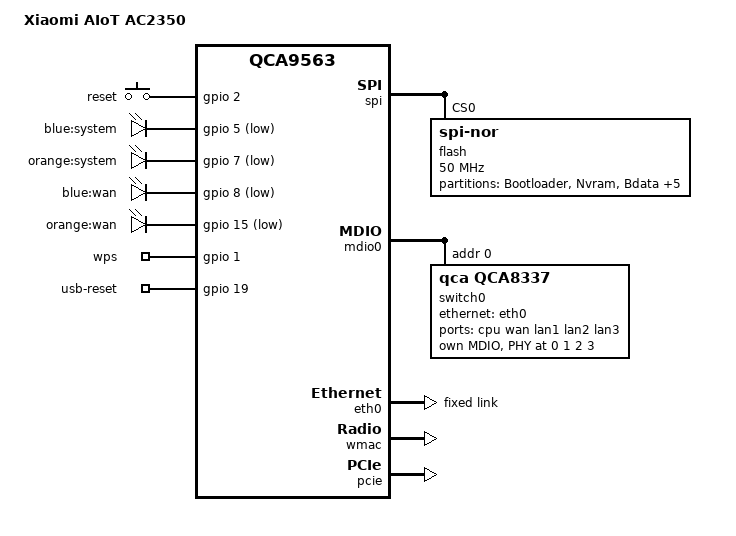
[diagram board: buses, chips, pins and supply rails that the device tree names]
// SPDX-License-Identifier: GPL-2.0-or-later OR MIT

#include "qca956x.dtsi"

#include <dt-bindings/gpio/gpio.h>
#include <dt-bindings/input/input.h>

/ {
	model = "Xiaomi AIoT AC2350";
	compatible = "xiaomi,aiot-ac2350", "qca,qca9563";

	aliases {
		label-mac-device = &eth0;

		led-boot = &led_system_orange;
		led-failsafe = &led_system_orange;
		led-running = &led_system_blue;
		led-upgrade = &led_system_orange;
	};

	keys {
		compatible = "gpio-keys";

		reset {
			label = "reset";
			linux,code = <KEY_RESTART>;
			gpios = <&gpio 2 GPIO_ACTIVE_HIGH>;
		};
	};

	leds {
		compatible = "gpio-leds";

		led_system_blue: system_blue {
			label = "blue:system";
			gpios = <&gpio 5 GPIO_ACTIVE_LOW>;
		};

		led_system_orange: system_orange {
			label = "orange:system";
			gpios = <&gpio 7 GPIO_ACTIVE_LOW>;
		};

		wan_blue {
			label = "blue:wan";
			gpios = <&gpio 8 GPIO_ACTIVE_LOW>;
		};

		wan_orange {
			label = "orange:wan";
			gpios = <&gpio 15 GPIO_ACTIVE_LOW>;
		};
	};

	gpio-export {
		compatible = "gpio-export";

		wps {
			gpio-export,name = "wps";
			gpio-export,output = <0>;
			gpios = <&gpio 1 GPIO_ACTIVE_HIGH>;
		};

		usb-reset {
			gpio-export,name = "usb-reset";
			gpio-export,output = <0>;
			gpios = <&gpio 19 GPIO_ACTIVE_HIGH>;
		};
	};
};

&spi {
	status = "okay";

	flash@0 {
		compatible = "jedec,spi-nor";
		reg = <0>;
		spi-max-frequency = <50000000>;

		partitions {
			compatible = "fixed-partitions";
			#address-cells = <1>;
			#size-cells = <1>;

			partition@0 {
				label = "Bootloader";
				reg = <0x0 0x30000>;
				read-only;
			};

			partition@30000 {
				label = "Nvram";
				reg = <0x30000 0x10000>;
			};

			partition@40000 {
				label = "Bdata";
				reg = <0x40000 0x10000>;
				read-only;
			};

			partition@50000 {
				label = "crash";
				reg = <0x50000 0x10000>;
				read-only;
			};

			art: partition@60000 {
				label = "art";
				reg = <0x60000 0x10000>;
				read-only;
			};

			partition@70000 {
				label = "cfg_bak";
				reg = <0x70000 0x20000>;
				read-only;
			};

			partition@90000 {
				label = "overlay";
				reg = <0x90000 0x170000>;
				read-only;
			};

			partition@200000 {
				compatible = "denx,uimage";
				label = "firmware";
				reg = <0x200000 0xe00000>;
			};
		};
	};
};

&mdio0 {
	status = "okay";

	phy-mask = <0x1>;

	switch0@10 {
		compatible = "qca,qca8337";
		#address-cells = <1>;
		#size-cells = <0>;

		reg = <0>;

		ports {
			#address-cells = <1>;
			#size-cells = <0>;

			port@0 {
				reg = <0>;
				label = "cpu";
				ethernet = <&eth0>;
				phy-mode = "sgmii";
				qca,sgmii-enable-pll;

				fixed-link {
					speed = <1000>;
					full-duplex;
				};
			};

			port@1 {
				reg = <1>;
				label = "wan";
				phy-mode = "internal";
				phy-handle = <&phy_port1>;
			};

			port@2 {
				reg = <2>;
				label = "lan1";
				phy-mode = "internal";
				phy-handle = <&phy_port2>;
			};

			port@3 {
				reg = <3>;
				label = "lan2";
				phy-mode = "internal";
				phy-handle = <&phy_port3>;
			};

			port@4 {
				reg = <4>;
				label = "lan3";
				phy-mode = "internal";
				phy-handle = <&phy_port4>;
			};
		};

		mdio {
			#address-cells = <1>;
			#size-cells = <0>;

			phy_port1: phy@0 {
				reg = <0>;
			};

			phy_port2: phy@1 {
				reg = <1>;
			};

			phy_port3: phy@2 {
				reg = <2>;
			};

			phy_port4: phy@3 {
				reg = <3>;
			};
		};
	};
};

&eth0 {
	status = "okay";

	nvmem-cells = <&macaddr_art_0>;
	nvmem-cell-names = "mac-address";

	fixed-link {
		speed = <1000>;
		full-duplex;
	};
};

&wmac {
	status = "okay";

	mtd-cal-data = <&art 0x1000>;
};

&pcie {
	status = "okay";
};

&art {
	compatible = "nvmem-cells";
	#address-cells = <1>;
	#size-cells = <1>;

	macaddr_art_0: macaddr@0 {
		reg = <0x0 0x6>;
	};
};
